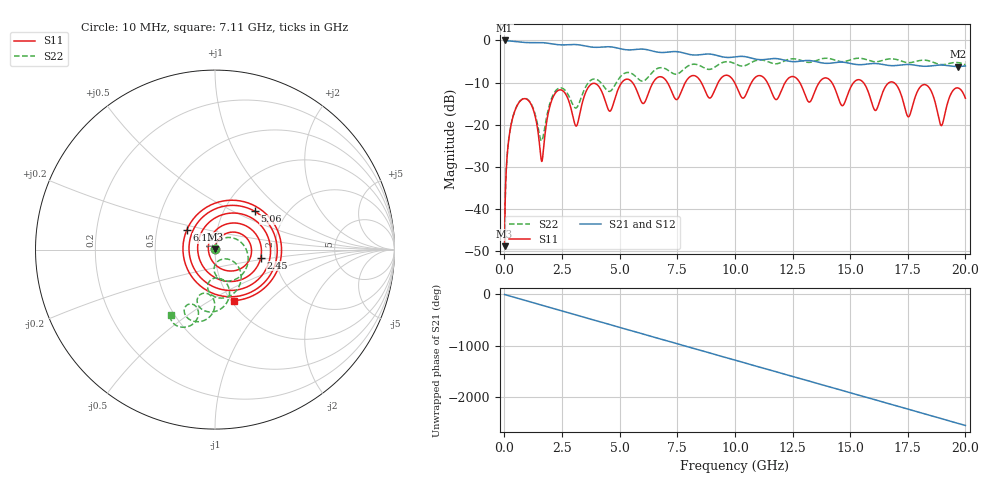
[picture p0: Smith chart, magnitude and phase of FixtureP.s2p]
! Touchstone file from project
# GHZ S MA R 50.000000
! Modal data exported
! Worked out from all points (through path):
!   2000 points, 10 MHz to 20 GHz, reference 50 ohm
!   highest |S21| = -0.02 dB at 10 MHz (marker M1); lowest = -6.2 dB at 19.67 GHz (marker M2)
!   group delay of S21, straight-line fit = 355 ps
!   lowest |S11| = -48.8 dB at 10 MHz (marker M3), VSWR 1.01, Z = 50.1 + j0.358 ohm
!   |S11| at or under -10 dB: start of sweep to 5.093 GHz; 15.58 GHz to 16.69 GHz (1.117 GHz wide, 6.93 % of centre); 16.9 GHz to end of sweep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
!   |S22| runs from -48.8 to -4.2 dB; largest |S21 - S12| = 0
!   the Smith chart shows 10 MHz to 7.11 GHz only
!   S11 on the Smith chart (normalised r, x): 10 MHz: 1.00, +0.01; 2.45 GHz: 1.68, -0.16; 5.06 GHz: 1.39, +0.65; 6.12 GHz: 0.71, +0.16; 7.11 GHz: 1.03, -0.65
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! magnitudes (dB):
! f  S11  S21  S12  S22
! 10 MHz  -48.8  0.0  0.0  -48.8
! 190 MHz  -23.5  -0.1  -0.1  -23.5
! 520 MHz  -15.8  -0.3  -0.3  -15.8
! 1.14 GHz  -15.0  -0.5  -0.5  -14.8
! 1.62 GHz  -28.7  -0.5  -0.5  -23.8
! 2.45 GHz  -11.7  -1.1  -1.1  -11.3
! 3.09 GHz  -20.2  -1.0  -1.0  -16.0
! 3.35 GHz  -15.5  -1.2  -1.2  -13.3
! 5.06 GHz  -10.3  -2.0  -2.0  -8.5
! 6.12 GHz  -14.4  -2.1  -2.1  -9.4
! 6.68 GHz  -8.7  -2.8  -2.8  -6.6
! 7.11 GHz  -10.3  -2.8  -2.8  -7.1
! 10.01 GHz  -10.2  -3.9  -3.9  -5.6
! 13.34 GHz  -13.9  -4.8  -4.8  -5.1
! 15.39 GHz  -9.3  -5.8  -5.8  -4.2
! 16.1 GHz  -16.6  -5.5  -5.5  -5.1
! 16.67 GHz  -10.1  -5.9  -5.9  -4.4
! 17.53 GHz  -18.1  -5.7  -5.7  -5.3
! 18.34 GHz  -10.7  -6.1  -6.1  -4.8
! 18.95 GHz  -20.2  -5.8  -5.8  -5.7
! 19.67 GHz  -11.3  -6.2  -6.2  -5.3
! 20 GHz  -13.7  -6.1  -6.1  -5.8
